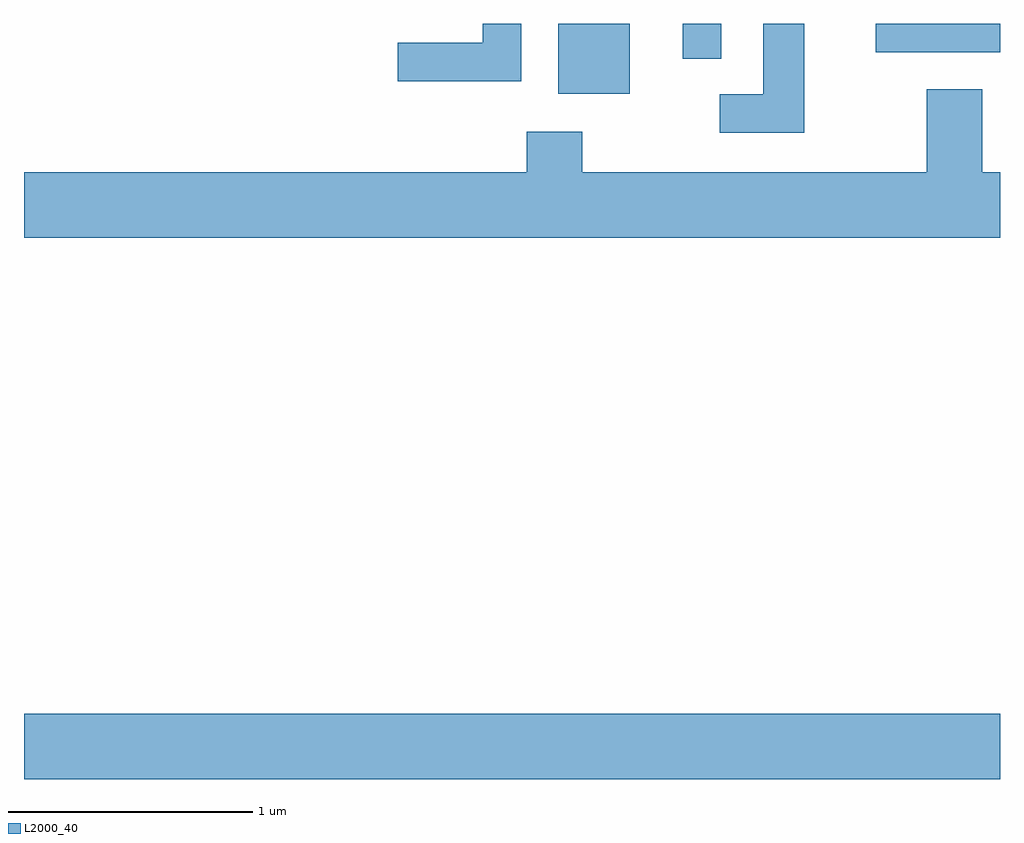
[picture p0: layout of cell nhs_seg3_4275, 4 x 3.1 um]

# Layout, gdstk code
import gdstk
lib = gdstk.Library(unit=1e-6, precision=1e-09)
def R(c, l, rs):  # rectangles x0, y0, x1, y1
    for r in rs: c.add(gdstk.rectangle(r[:2], r[2:], *l))
def P(c, l, *ps):  # polygons
    for p in ps: c.add(gdstk.Polygon(p, *l))
L2000_40 = (2000, 40)

nhs_seg3_4275 = lib.new_cell('nhs_seg3_4275')
R(nhs_seg3_4275, L2000_40, [(309.611,1234.796,313.611,1235.064), (311.801,1237.606,312.094,1237.892), (312.311,1237.748,312.469,1237.892), (313.101,1237.776,313.611,1237.892)])
P(nhs_seg3_4275, L2000_40, [(311.649,1237.892),(311.491,1237.892),(311.491,1237.814),(311.143,1237.814),(311.143,1237.656),(311.649,1237.656)],
  [(312.809,1237.892),(312.641,1237.892),(312.641,1237.604),(312.463,1237.604),(312.463,1237.446),(312.809,1237.446)],
  [(313.611,1237.284),(313.539,1237.284),(313.539,1237.624),(313.311,1237.624),(313.311,1237.284),(311.899,1237.284),(311.899,1237.449),(311.671,1237.449),(311.671,1237.284),(309.611,1237.284),(309.611,1237.016),(313.611,1237.016)])

lib.write_gds('nhs_seg3_4275.gds')
